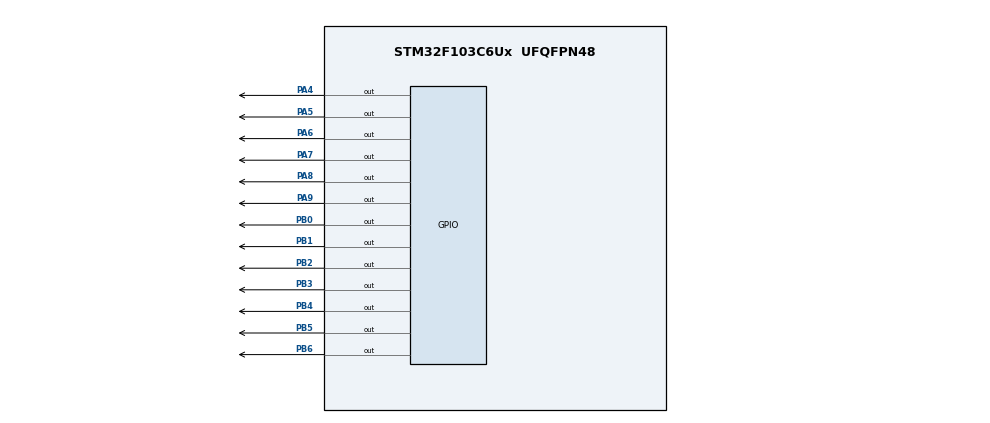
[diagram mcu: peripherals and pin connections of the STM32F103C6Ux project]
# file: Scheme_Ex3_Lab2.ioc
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Mcu.Family=STM32F1
Mcu.Name=STM32F103C6Ux
Mcu.Package=UFQFPN48
NVIC.PriorityGroup=NVIC_PRIORITYGROUP_4
NVIC.TIM2_IRQn=true\:0\:0\:false\:false\:true\:true\:true
PA13.Mode=Serial_Wire
PA13.Signal=SYS_JTMS-SWDIO
PA14.Mode=Serial_Wire
PA14.Signal=SYS_JTCK-SWCLK
PA4.Signal=GPIO_Output
PA5.Signal=GPIO_Output
PA6.Signal=GPIO_Output
PA7.Signal=GPIO_Output
PA8.Signal=GPIO_Output
PA9.Signal=GPIO_Output
PB0.Signal=GPIO_Output
PB1.Signal=GPIO_Output
PB2.Signal=GPIO_Output
PB3.Signal=GPIO_Output
PB4.Signal=GPIO_Output
PB5.Signal=GPIO_Output
PB6.Signal=GPIO_Output
ProjectManager.HeapSize=0x200
ProjectManager.StackSize=0x400
ProjectManager.TargetToolchain=STM32CubeIDE
RCC.APB1Freq_Value=8000000
RCC.APB2Freq_Value=8000000
TIM2.Period=9
TIM2.Prescaler=7999
VP_TIM2_VS_ClockSourceINT.Mode=Internal
board=custom

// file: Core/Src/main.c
/* USER CODE BEGIN Header */
/**
  ******************************************************************************
  * @file           : main.c
  * @brief          : Main program body
  ******************************************************************************
  * @attention
  *
  * <h2><center>&copy; Copyright (c) 2026 STMicroelectronics.
  * All rights reserved.</center></h2>
  *
  * This software component is licensed by ST under BSD 3-Clause license,
  * the "License"; You may not use this file except in compliance with the
  * License. You may obtain a copy of the License at:
  *                        opensource.org/licenses/BSD-3-Clause
  *
  ******************************************************************************
  */
/* USER CODE END Header */
#include "main.h"

TIM_HandleTypeDef htim2;

/* USER CODE BEGIN PV */
const int MAX_LED = 4;
int led_buffer[4] = {0,0,0,0};

int hour = 10;
int minute = 37;
int second = 36;

int led_counter = 10; //100ms
int dot_counter = 100; //1 giay 1 lan nhay
int led_index = 0;

/* USER CODE END PV */

void SystemClock_Config(void);
static void MX_GPIO_Init(void);
static void MX_TIM2_Init(void);

/* USER CODE BEGIN 0 */
static const uint8_t seg_code[10] = {
    0b1000000, // 0: a,b,c,d,e,f
    0b1111001, // 1: b,c
    0b0100100, // 2: a,b,d,e,g
    0b0110000, // 3: a,b,c,d,g
    0b0011001, // 4: b,c,f,g
    0b0010010, // 5: a,c,d,f,g
    0b0000010, // 6: a,c,d,e,f,g
    0b1111000, // 7: a,b,c
    0b0000000, // 8: a,b,c,d,e,f,g
    0b0010000  // 9: a,b,c,d,f,g
};

void display7SEG(int num)
{
    if (num < 0 || num > 9) return;
    uint8_t code = seg_code[num];
    HAL_GPIO_WritePin(GPIOB, GPIO_PIN_0, (code & 0x01) ? GPIO_PIN_SET : GPIO_PIN_RESET);
    HAL_GPIO_WritePin(GPIOB, GPIO_PIN_1, (code & 0x02) ? GPIO_PIN_SET : GPIO_PIN_RESET);
    HAL_GPIO_WritePin(GPIOB, GPIO_PIN_2, (code & 0x04) ? GPIO_PIN_SET : GPIO_PIN_RESET);
    HAL_GPIO_WritePin(GPIOB, GPIO_PIN_3, (code & 0x08) ? GPIO_PIN_SET : GPIO_PIN_RESET);
    HAL_GPIO_WritePin(GPIOB, GPIO_PIN_4, (code & 0x10) ? GPIO_PIN_SET : GPIO_PIN_RESET);
    HAL_GPIO_WritePin(GPIOB, GPIO_PIN_5, (code & 0x20) ? GPIO_PIN_SET : GPIO_PIN_RESET);
    HAL_GPIO_WritePin(GPIOB, GPIO_PIN_6, (code & 0x40) ? GPIO_PIN_SET : GPIO_PIN_RESET);
}

void updateClockBuffer(int hour, int minute) {
	led_buffer[0] = hour / 10; //hang chuc cua gio
	led_buffer[1] = hour % 10; //hang don vi cua gio
	led_buffer[2] = minute / 10; //hang chuc cua phut
	led_buffer[3] = minute % 10; //hang don vi cua phut
}

void update7SEG(int index) {
	if (index < 0 || index > 3) return;
	HAL_GPIO_WritePin(GPIOA, GPIO_PIN_6 | GPIO_PIN_7 | GPIO_PIN_8 | GPIO_PIN_9, GPIO_PIN_SET); //TAT HET LED

	switch(index) {
	case 0:
		display7SEG(led_buffer[0]);
		HAL_GPIO_WritePin(GPIOA, GPIO_PIN_6, GPIO_PIN_RESET);
		break;
	case 1:
		display7SEG(led_buffer[1]);
		HAL_GPIO_WritePin(GPIOA, GPIO_PIN_7, GPIO_PIN_RESET);
		break;
	case 2:
		display7SEG(led_buffer[2]);
		HAL_GPIO_WritePin(GPIOA, GPIO_PIN_8, GPIO_PIN_RESET);
		break;
	case 3:
		display7SEG(led_buffer[3]);
		HAL_GPIO_WritePin(GPIOA, GPIO_PIN_9, GPIO_PIN_RESET);
		break;
	default:
		break;
	}
}

/* USER CODE END 0 */

int main(void)
{

  /* MCU Configuration--------------------------------------------------------*/

  /* Reset of all peripherals, Initializes the Flash interface and the Systick. */
  HAL_Init();

  /* Configure the system clock */
  SystemClock_Config();

  /* Initialize all configured peripherals */
  MX_GPIO_Init();
  MX_TIM2_Init();
  /* USER CODE BEGIN 2 */
  updateClockBuffer(hour, minute);
  HAL_TIM_Base_Start_IT(&htim2);

  /* USER CODE END 2 */

  /* Infinite loop */
  while (1)
  {

  }
}

void SystemClock_Config(void)
{
  RCC_OscInitTypeDef RCC_OscInitStruct = {0};
  RCC_ClkInitTypeDef RCC_ClkInitStruct = {0};

  /** Initializes the RCC Oscillators according to the specified parameters
  * in the RCC_OscInitTypeDef structure.
  */
  RCC_OscInitStruct.OscillatorType = RCC_OSCILLATORTYPE_HSI;
  RCC_OscInitStruct.HSIState = RCC_HSI_ON;
  RCC_OscInitStruct.HSICalibrationValue = RCC_HSICALIBRATION_DEFAULT;
  RCC_OscInitStruct.PLL.PLLState = RCC_PLL_NONE;
  if (HAL_RCC_OscConfig(&RCC_OscInitStruct) != HAL_OK)
  {
    Error_Handler();
  }
  /** Initializes the CPU, AHB and APB buses clocks
  */
  RCC_ClkInitStruct.ClockType = RCC_CLOCKTYPE_HCLK|RCC_CLOCKTYPE_SYSCLK
                              |RCC_CLOCKTYPE_PCLK1|RCC_CLOCKTYPE_PCLK2;
  RCC_ClkInitStruct.SYSCLKSource = RCC_SYSCLKSOURCE_HSI;
  RCC_ClkInitStruct.AHBCLKDivider = RCC_SYSCLK_DIV1;
  RCC_ClkInitStruct.APB1CLKDivider = RCC_HCLK_DIV1;
  RCC_ClkInitStruct.APB2CLKDivider = RCC_HCLK_DIV1;

  if (HAL_RCC_ClockConfig(&RCC_ClkInitStruct, FLASH_LATENCY_0) != HAL_OK)
  {
    Error_Handler();
  }
}

static void MX_TIM2_Init(void)
{

  TIM_ClockConfigTypeDef sClockSourceConfig = {0};
  TIM_MasterConfigTypeDef sMasterConfig = {0};

  htim2.Instance = TIM2;
  htim2.Init.Prescaler = 7999;
  htim2.Init.CounterMode = TIM_COUNTERMODE_UP;
  htim2.Init.Period = 9;
  htim2.Init.ClockDivision = TIM_CLOCKDIVISION_DIV1;
  htim2.Init.AutoReloadPreload = TIM_AUTORELOAD_PRELOAD_DISABLE;
  if (HAL_TIM_Base_Init(&htim2) != HAL_OK)
  {
    Error_Handler();
  }
  sClockSourceConfig.ClockSource = TIM_CLOCKSOURCE_INTERNAL;
  if (HAL_TIM_ConfigClockSource(&htim2, &sClockSourceConfig) != HAL_OK)
  {
    Error_Handler();
  }
  sMasterConfig.MasterOutputTrigger = TIM_TRGO_RESET;
  sMasterConfig.MasterSlaveMode = TIM_MASTERSLAVEMODE_DISABLE;
  if (HAL_TIMEx_MasterConfigSynchronization(&htim2, &sMasterConfig) != HAL_OK)
  {
    Error_Handler();
  }

}

static void MX_GPIO_Init(void)
{
  GPIO_InitTypeDef GPIO_InitStruct = {0};

  /* GPIO Ports Clock Enable */
  __HAL_RCC_GPIOA_CLK_ENABLE();
  __HAL_RCC_GPIOB_CLK_ENABLE();

  /*Configure GPIO pin Output Level */
  HAL_GPIO_WritePin(GPIOA, GPIO_PIN_4|GPIO_PIN_5|GPIO_PIN_6|GPIO_PIN_7
                          |GPIO_PIN_8|GPIO_PIN_9, GPIO_PIN_RESET);

  /*Configure GPIO pin Output Level */
  HAL_GPIO_WritePin(GPIOB, GPIO_PIN_0|GPIO_PIN_1|GPIO_PIN_2|GPIO_PIN_3
                          |GPIO_PIN_4|GPIO_PIN_5|GPIO_PIN_6, GPIO_PIN_RESET);

  /*Configure GPIO pins : PA4 PA5 PA6 PA7
                           PA8 PA9 */
  GPIO_InitStruct.Pin = GPIO_PIN_4|GPIO_PIN_5|GPIO_PIN_6|GPIO_PIN_7
                          |GPIO_PIN_8|GPIO_PIN_9;
  GPIO_InitStruct.Mode = GPIO_MODE_OUTPUT_PP;
  GPIO_InitStruct.Pull = GPIO_NOPULL;
  GPIO_InitStruct.Speed = GPIO_SPEED_FREQ_LOW;
  HAL_GPIO_Init(GPIOA, &GPIO_InitStruct);

  /*Configure GPIO pins : PB0 PB1 PB2 PB3
                           PB4 PB5 PB6 */
  GPIO_InitStruct.Pin = GPIO_PIN_0|GPIO_PIN_1|GPIO_PIN_2|GPIO_PIN_3
                          |GPIO_PIN_4|GPIO_PIN_5|GPIO_PIN_6;
  GPIO_InitStruct.Mode = GPIO_MODE_OUTPUT_PP;
  GPIO_InitStruct.Pull = GPIO_NOPULL;
  GPIO_InitStruct.Speed = GPIO_SPEED_FREQ_LOW;
  HAL_GPIO_Init(GPIOB, &GPIO_InitStruct);

}

/* USER CODE BEGIN 4 */

void HAL_TIM_PeriodElapsedCallback(TIM_HandleTypeDef *htim) {
	if (htim->Instance == TIM2) {
		dot_counter--;
		if (dot_counter <= 0) {
			dot_counter = 100;
			HAL_GPIO_TogglePin(GPIOA, GPIO_PIN_4);

			second++;
			if (second >= 60) {
				minute++;
				second = 0;
				if (minute >= 60) {
					hour++;
					minute = 0;
					if (hour >= 24) {
						hour = 0;
					}
				}
				//cap nhat gia tri moi vao buffer khi minute thay doi
				updateClockBuffer(hour, minute);
			}
		}
		led_counter--;
		if (led_counter <= 0) {
			led_counter = 10;
			update7SEG(led_index);
			led_index++;
			if (led_index >= MAX_LED) {
				led_index = 0;
			}

			HAL_GPIO_TogglePin(GPIOA, GPIO_PIN_5);
		}
	}
}
/* USER CODE END 4 */

void Error_Handler(void)
{
  __disable_irq();
  while (1)
  {
  }
}

/************************ (C) COPYRIGHT STMicroelectronics *****END OF FILE****/
